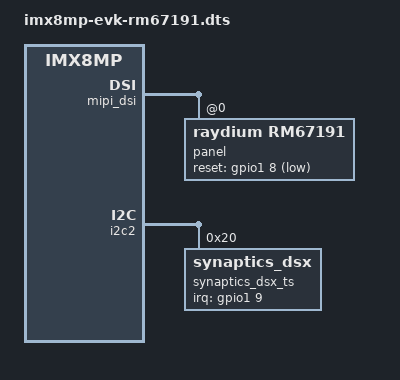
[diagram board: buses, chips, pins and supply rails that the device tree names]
// SPDX-License-Identifier: GPL-2.0+
/*
 * Copyright 2019,2021 NXP
 */

#include "imx8mp-evk.dts"

&adv_bridge {
	status = "disabled";
};

&mipi_dsi {
	panel@0 {
		compatible = "raydium,rm67191";
		reg = <0>;
		pinctrl-0 = <&pinctrl_mipi_dsi_en>;
		reset-gpio = <&gpio1 8 GPIO_ACTIVE_LOW>;
		dsi-lanes = <4>;
		video-mode = <2>;	/* 0: burst mode
					 * 1: non-burst mode with sync event
					 * 2: non-burst mode with sync pulse
					 */
		panel-width-mm = <68>;
		panel-height-mm = <121>;
		status = "okay";
	};
};

&i2c2 {
	synaptics_dsx_ts: synaptics_dsx_ts@20 {
		compatible = "synaptics_dsx";
		reg = <0x20>;
		pinctrl-names = "default";
		pinctrl-0 = <&pinctrl_i2c2_synaptics_dsx_io>;
		interrupt-parent = <&gpio1>;
		interrupts = <9 IRQ_TYPE_LEVEL_LOW>;
		synaptics,diagonal-rotation;
		status = "okay";
	};
};
